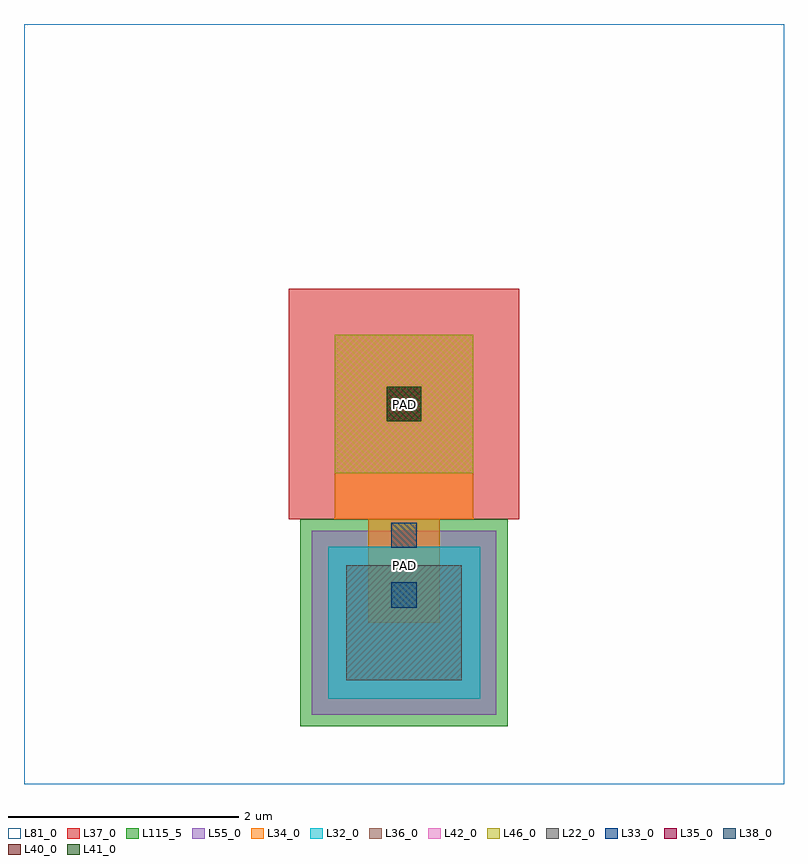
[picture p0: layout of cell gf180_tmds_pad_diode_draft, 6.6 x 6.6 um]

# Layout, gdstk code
import gdstk
lib = gdstk.Library(unit=1e-6, precision=1e-09)
def R(c, l, rs):  # rectangles x0, y0, x1, y1
    for r in rs: c.add(gdstk.rectangle(r[:2], r[2:], *l))
L22_0 = (22, 0)
L32_0 = (32, 0)
L33_0 = (33, 0)
L34_0 = (34, 0)
L35_0 = (35, 0)
L36_0 = (36, 0)
L37_0 = (37, 0)
L38_0 = (38, 0)
L40_0 = (40, 0)
L41_0 = (41, 0)
L42_0 = (42, 0)
L46_0 = (46, 0)
L55_0 = (55, 0)
L81_0 = (81, 0)
L115_5 = (115, 5)

gf180_tmds_pad_diode_dra = lib.new_cell('gf180_tmds_pad_diode_draft')
R(gf180_tmds_pad_diode_dra, L22_0, [(0,0,1,1)])
R(gf180_tmds_pad_diode_dra, L32_0, [(-0.16,-0.16,1.16,1.16)])
R(gf180_tmds_pad_diode_dra, L33_0, [(0.39,0.63,0.61,0.85), (0.39,1.15,0.61,1.37)])
R(gf180_tmds_pad_diode_dra, L34_0, [(0.19,0.5,0.81,1.5), (-0.1,1.4,1.1,3)])
R(gf180_tmds_pad_diode_dra, L35_0, [(0.35,2.25,0.65,2.55)])
R(gf180_tmds_pad_diode_dra, L36_0, [(-0.1,1.8,1.1,3)])
R(gf180_tmds_pad_diode_dra, L37_0, [(-0.5,1.4,1.5,3.4)])
R(gf180_tmds_pad_diode_dra, L38_0, [(0.35,2.25,0.65,2.55)])
R(gf180_tmds_pad_diode_dra, L40_0, [(0.35,2.25,0.65,2.55)])
R(gf180_tmds_pad_diode_dra, L41_0, [(0.35,2.25,0.65,2.55)])
R(gf180_tmds_pad_diode_dra, L42_0, [(-0.1,1.8,1.1,3)])
R(gf180_tmds_pad_diode_dra, L46_0, [(-0.1,1.8,1.1,3)])
R(gf180_tmds_pad_diode_dra, L55_0, [(-0.3,-0.3,1.3,1.3)])
R(gf180_tmds_pad_diode_dra, L81_0, [(-2.8,-0.9,3.8,5.7)])
R(gf180_tmds_pad_diode_dra, L115_5, [(-0.4,-0.4,1.4,1.4)])
gf180_tmds_pad_diode_dra.add(gdstk.Label('PAD', (0.5,1), layer=34, texttype=10))
gf180_tmds_pad_diode_dra.add(gdstk.Label('PAD', (0.5,2.4), layer=81, texttype=10))

lib.write_gds('gf180_tmds_pad_diode_draft.gds')
